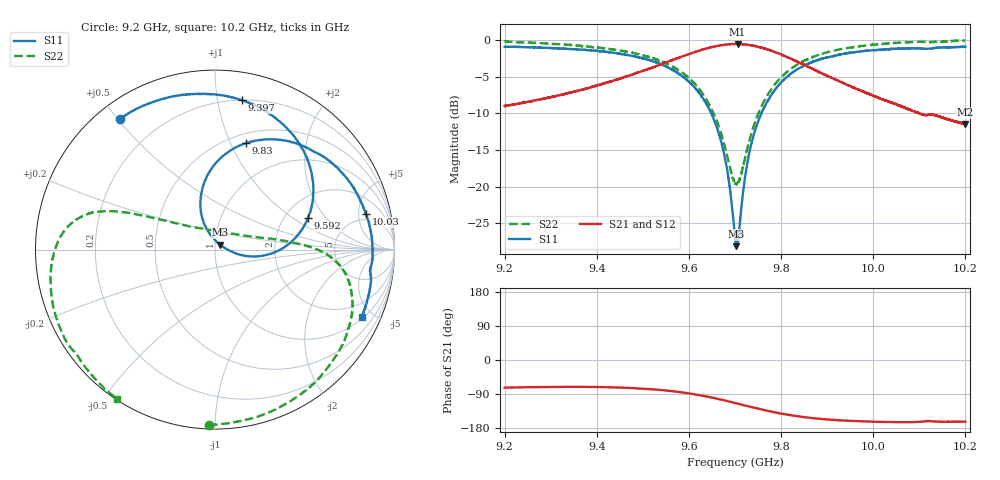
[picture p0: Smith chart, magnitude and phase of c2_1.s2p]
!Agilent Technologies,N5242A,MY51221714,A.09.90.19
!Agilent N5242A: A.09.90.19
!Date: Saturday, March 16, 2024 09:42:14
!Correction: S11(Full 2 Port(1,2))
!S21(Full 2 Port(1,2))
!S12(Full 2 Port(1,2))
!S22(Full 2 Port(1,2))
!S2P File: Measurements: S11, S21, S12, S22:
# Hz S  dB  R 50
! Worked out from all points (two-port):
!   16001 points, 9.2 GHz to 10.2 GHz, reference 50 ohm
!   highest |S21| = -0.53 dB at 9.706 GHz (marker M1); lowest = -11.5 dB at 10.2 GHz (marker M2)
!   |S21| within 3 dB of the highest: 9.531 GHz to 9.855 GHz (324.4 MHz wide, 3.35 % of centre)
!   lowest |S11| = -28.1 dB at 9.703 GHz (marker M3), VSWR 1.08, Z = 52.8 + j2.91 ohm
!   |S11| at or under -10 dB: 9.648 GHz to 9.757 GHz (109 MHz wide, 1.12 % of centre)
!   |S22| runs from -19.7 to -0.1 dB; largest |S21 - S12| = 0.013
!   S11 on the Smith chart (normalised r, x): 9.2 GHz: 0.07, +0.51; 9.397 GHz: 0.20, +1.17; 9.592 GHz: 2.67, +1.33; 9.83 GHz: 0.59, +1.14; 10.03 GHz: 3.89, +6.11; 10.2 GHz: 1.09, -4.29
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9.2e9  -0.92 125.9  -9.01 -73.0  -8.99 -73.7  -0.19 -91.9
9.277688e9  -1.02 108.4  -8.09 -71.4  -8.07 -72.0  -0.42 -70.4
9.366688e9  -1.31 87.4  -6.79 -71.0  -6.78 -71.5  -0.81 -46.8
9.396562e9  -1.46 79.9  -6.27 -71.2  -6.25 -71.8  -0.98 -39.3
9.533375e9  -3.16 39.9  -3.46 -78.6  -3.44 -79.1  -2.73 -9.6
9.591875e9  -5.24 18.6  -2.10 -86.7  -2.07 -87.3  -4.74 -0.3
9.63375e9  -8.28 1.9  -1.23 -95.2  -1.22 -95.7  -7.72 6.2
9.66375e9  -12.54 -9.2  -0.77 -102.9  -0.76 -103.4  -11.60 14.7
9.6835e9  -17.91 -10.9  -0.59 -108.5  -0.58 -109.1  -15.96 31.3
9.7e9  -26.70 22.0  -0.54 -113.4  -0.51 -114.1  -19.58 70.0
9.703062e9  -28.14 44.5  -0.53 -114.4  -0.51 -115.0  -19.68 80.5
9.705625e9  -27.77 63.9  -0.53 -115.2  -0.52 -115.8  -19.64 89.4
9.725062e9  -17.44 112.5  -0.62 -121.1  -0.60 -121.8  -15.21 133.3
9.74675e9  -11.72 108.3  -0.87 -127.6  -0.85 -128.2  -10.63 148.4
9.781812e9  -7.22 93.9  -1.52 -137.0  -1.51 -137.7  -6.44 155.9
9.830125e9  -4.17 73.9  -2.79 -147.3  -2.78 -148.0  -3.52 161.3
9.866688e9  -3.03 60.1  -3.89 -153.2  -3.87 -153.7  -2.37 165.8
9.949062e9  -1.74 34.0  -6.26 -160.6  -6.27 -161.2  -1.04 179.4
1.002656e10  -1.27 13.4  -8.24 -163.5  -8.24 -164.1  -0.48 -164.7
1.003338e10  -1.25 11.7  -8.40 -163.5  -8.40 -164.2  -0.45 -163.1
1.010556e10  -1.15 -5.4  -10.13 -162.7  -10.14 -163.3  -0.23 -147.0
1.02e10  -0.92 -24.8  -11.50 -162.7  -11.48 -163.2  -0.06 -123.3
